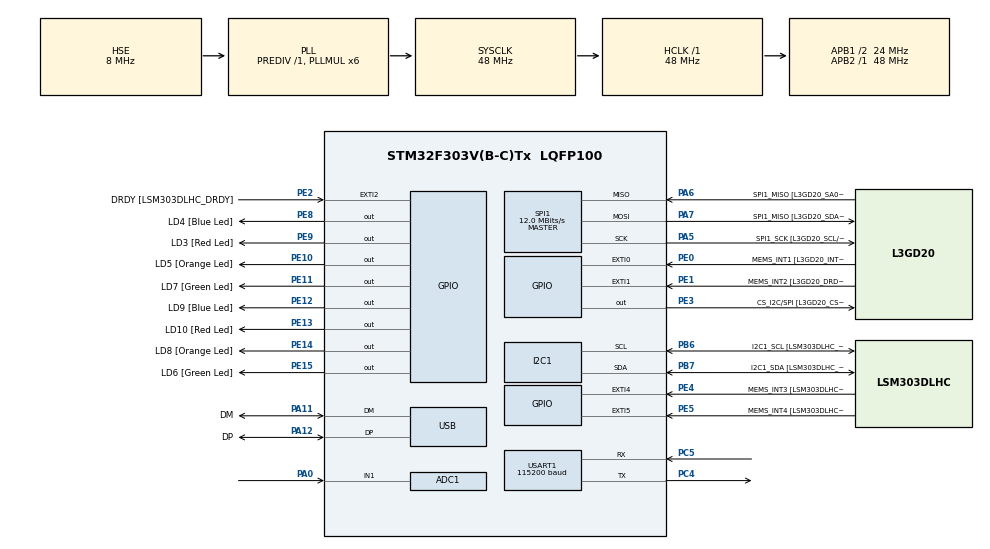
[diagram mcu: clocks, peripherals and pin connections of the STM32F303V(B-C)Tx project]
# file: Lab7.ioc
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ADC1.Channel-0\#ChannelRegularConversion=ADC_CHANNEL_1
ADC1.ContinuousConvMode=ENABLE
ADC1.NbrOfConversionFlag=1
ADC1.Offset-0\#ChannelRegularConversion=0
ADC1.OffsetNumber-0\#ChannelRegularConversion=ADC_OFFSET_NONE
ADC1.Rank-0\#ChannelRegularConversion=1
ADC1.SamplingTime-0\#ChannelRegularConversion=ADC_SAMPLETIME_181CYCLES_5
ADC1.SamplingTimeOPAMP-0\#ChannelRegularConversion=ADC_SAMPLETIME_19CYCLES_5
ADC1.master=1
I2C1.Timing=0x2000090E
I2C1.Timing-I2C=0x2000090E
Mcu.Family=STM32F3
Mcu.Name=STM32F303V(B-C)Tx
Mcu.Package=LQFP100
NVIC.ADC1_2_IRQn=true\:0\:0\:false\:false\:true\:true\:true\:true
NVIC.PriorityGroup=NVIC_PRIORITYGROUP_0
PA0.Mode=IN1-Single-Ended
PA0.Signal=ADC1_IN1
PA11.GPIO_Label=DM
PA11.Mode=Device
PA11.Signal=USB_DM
PA12.GPIO_Label=DP
PA12.Mode=Device
PA12.Signal=USB_DP
PA13.GPIO_Label=SWDIO
PA13.Mode=Serial_Wire
PA13.Signal=SYS_JTMS-SWDIO
PA14.GPIO_Label=SWCLK
PA14.Mode=Serial_Wire
PA14.Signal=SYS_JTCK-SWCLK
PA5.GPIO_Label=SPI1_SCK [L3GD20_SCL/SPC]
PA5.Mode=Full_Duplex_Master
PA5.Signal=SPI1_SCK
PA6.GPIO_Label=SPI1_MISO [L3GD20_SA0/SDO]
PA6.Mode=Full_Duplex_Master
PA6.Signal=SPI1_MISO
PA7.GPIO_Label=SPI1_MISO [L3GD20_SDA/SDI/SDO]
PA7.Mode=Full_Duplex_Master
PA7.Signal=SPI1_MOSI
PB3.GPIO_Label=SWO
PB3.Signal=SYS_JTDO-TRACESWO
PB6.GPIO_Label=I2C1_SCL [LSM303DLHC_SCL]
PB6.GPIO_Pu=GPIO_PULLUP
PB6.Mode=I2C
PB6.Signal=I2C1_SCL
PB7.GPIO_Label=I2C1_SDA [LSM303DLHC_SDA]
PB7.GPIO_Pu=GPIO_PULLUP
PB7.Mode=I2C
PB7.Signal=I2C1_SDA
PC14-OSC32_IN.GPIO_Label=OSC32_IN
PC14-OSC32_IN.Signal=RCC_OSC32_IN
PC15-OSC32_OUT.GPIO_Label=OSC32_OUT
PC15-OSC32_OUT.Signal=RCC_OSC32_OUT
PC4.Mode=Asynchronous
PC4.Signal=USART1_TX
PC5.Mode=Asynchronous
PC5.Signal=USART1_RX
PE0.GPIO_Label=MEMS_INT1 [L3GD20_INT1]
PE0.GPIO_ModeDefaultEXTI=GPIO_MODE_EVT_RISING
PE0.Signal=GPXTI0
PE1.GPIO_Label=MEMS_INT2 [L3GD20_DRDY/INT2]
PE1.GPIO_ModeDefaultEXTI=GPIO_MODE_EVT_RISING
PE1.Signal=GPXTI1
PE10.GPIO_Label=LD5 [Orange Led]
PE10.Signal=GPIO_Output
PE11.GPIO_Label=LD7 [Green Led]
PE11.Signal=GPIO_Output
PE12.GPIO_Label=LD9 [Blue Led]
PE12.Signal=GPIO_Output
PE13.GPIO_Label=LD10 [Red Led]
PE13.Signal=GPIO_Output
PE14.GPIO_Label=LD8 [Orange Led]
PE14.Signal=GPIO_Output
PE15.GPIO_Label=LD6 [Green Led]
PE15.Signal=GPIO_Output
PE2.GPIO_Label=DRDY [LSM303DLHC_DRDY]
PE2.GPIO_ModeDefaultEXTI=GPIO_MODE_EVT_RISING
PE2.Signal=GPXTI2
PE3.GPIO_Label=CS_I2C/SPI [L3GD20_CS_I2C/SPI]
PE3.Signal=GPIO_Output
PE4.GPIO_Label=MEMS_INT3 [LSM303DLHC_INT1]
PE4.GPIO_ModeDefaultEXTI=GPIO_MODE_EVT_RISING
PE4.Signal=GPXTI4
PE5.GPIO_Label=MEMS_INT4 [LSM303DLHC_INT2]
PE5.GPIO_ModeDefaultEXTI=GPIO_MODE_EVT_RISING
PE5.Signal=GPXTI5
PE8.GPIO_Label=LD4 [Blue Led]
PE8.Signal=GPIO_Output
PE9.GPIO_Label=LD3 [Red Led]
PE9.Signal=GPIO_Output
PF0-OSC_IN.GPIO_Label=OSC_IN
PF0-OSC_IN.Mode=HSE-External-Clock-Source
PF0-OSC_IN.Signal=RCC_OSC_IN
PF1-OSC_OUT.GPIO_Label=OSC_OUT
PF1-OSC_OUT.Signal=RCC_OSC_OUT
ProjectManager.HeapSize=0x200
ProjectManager.StackSize=0x400
ProjectManager.TargetToolchain=CMake
RCC.AHBFreq_Value=48000000
RCC.APB1CLKDivider=RCC_HCLK_DIV2
RCC.APB1Freq_Value=24000000
RCC.APB1TimFreq_Value=48000000
RCC.APB2Freq_Value=48000000
RCC.APB2TimFreq_Value=48000000
RCC.CortexFreq_Value=48000000
RCC.HCLKFreq_Value=48000000
RCC.HSE_VALUE=8000000
RCC.HSI_VALUE=8000000
RCC.LSE_VALUE=32768
RCC.PLLMUL=RCC_PLL_MUL6
RCC.SYSCLKFreq_VALUE=48000000
RCC.SYSCLKSourceVirtual=RCC_SYSCLKSOURCE_PLLCLK
RCC.USBFreq_Value=48000000
SPI1.BaudRatePrescaler=SPI_BAUDRATEPRESCALER_4
SPI1.BaudRatePrescaler-Full_Duplex_Master=SPI_BAUDRATEPRESCALER_2
SPI1.CalculateBaudRate=12.0 MBits/s
SPI1.CalculateBaudRate-Full_Duplex_Master=24.0 MBits/s
SPI1.Direction=SPI_DIRECTION_2LINES
SPI1.Mode=SPI_MODE_MASTER
SPI1.Mode-Full_Duplex_Master=SPI_MODE_MASTER
SPI1.VirtualType=VM_MASTER
STMicroelectronics.X-CUBE-ALGOBUILD.1.4.0.LibraryCcDSPOoLibraryJjDSPOoLibrary=true
USART1.BaudRate=115200
USART1.VirtualMode-Asynchronous=VM_ASYNC
VP_STMicroelectronics.X-CUBE-ALGOBUILD_VS_DSPOoLibraryJjLibrary_1.4.0_1.4.0.Mode=DSPOoLibraryJjLibrary
board=STM32F3DISCOVERY

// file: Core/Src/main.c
/* USER CODE BEGIN Header */
/**
  ******************************************************************************
  * @file           : main.c
  * @brief          : Main program body
  ******************************************************************************
  * @attention
  *
  * Copyright (c) 2026 STMicroelectronics.
  * All rights reserved.
  *
  * This software is licensed under terms that can be found in the LICENSE file
  * in the root directory of this software component.
  * If no LICENSE file comes with this software, it is provided AS-IS.
  *
  ******************************************************************************
  */
/* USER CODE END Header */
#include "main.h"

/* USER CODE BEGIN Includes */
#include "arm_math.h"
#include "stm32f3xx_hal_adc.h"
#include <stdio.h>
#include <string.h>
/* USER CODE END Includes */

/* USER CODE BEGIN PD */
#define FILTER_LEN 10
/* USER CODE END PD */

ADC_HandleTypeDef hadc1;

I2C_HandleTypeDef hi2c1;

SPI_HandleTypeDef hspi1;

UART_HandleTypeDef huart1;

PCD_HandleTypeDef hpcd_USB_FS;

/* USER CODE BEGIN PV */
static float32_t inputBuffer[FILTER_LEN];
static float32_t output;
static uint32_t bufIdx = 0;
static volatile uint32_t adc_raw = 0;
static volatile uint8_t adc_ready = 0;
/* USER CODE END PV */

void SystemClock_Config(void);
static void MX_GPIO_Init(void);
static void MX_ADC1_Init(void);
static void MX_I2C1_Init(void);
static void MX_SPI1_Init(void);
static void MX_USART1_UART_Init(void);
static void MX_USB_PCD_Init(void);

/* USER CODE BEGIN 0 */
void apply_moving_average(float32_t new_sample)
{
  inputBuffer[bufIdx] = new_sample;
  bufIdx = (bufIdx + 1) % FILTER_LEN;
  arm_mean_f32(inputBuffer, FILTER_LEN, &output);
}
void HAL_ADC_ConvCpltCallback(ADC_HandleTypeDef* hadc)
{
  if (hadc->Instance == ADC1) {
    adc_raw = HAL_ADC_GetValue(&hadc1);
    adc_ready = 1;
  }
}
/* USER CODE END 0 */

int main(void)
{

  /* MCU Configuration--------------------------------------------------------*/

  /* Reset of all peripherals, Initializes the Flash interface and the Systick. */
  HAL_Init();

  /* Configure the system clock */
  SystemClock_Config();

  /* Initialize all configured peripherals */
  MX_GPIO_Init();
  MX_ADC1_Init();
  MX_I2C1_Init();
  MX_SPI1_Init();
  MX_USART1_UART_Init();
  MX_USB_PCD_Init();

  /* Infinite loop */
  while (1)
  {

    /* USER CODE BEGIN 3 */

    //(i): POLLING MODE
    // HAL_ADC_Start(&hadc1);
    // HAL_ADC_PollForConversion(&hadc1, HAL_MAX_DELAY);
    // uint32_t raw = HAL_ADC_GetValue(&hadc1);
    // apply_moving_average((float32_t)raw);
    // uint32_t filt = (uint32_t)output;
    // char line[32];
    // int n = snprintf(line, sizeof(line), "%lu,%lu\r\n", (unsigned long)raw, (unsigned long)filt);
    // HAL_UART_Transmit(&huart1, (uint8_t*)line, n, HAL_MAX_DELAY);
    // HAL_Delay(1);
    // HAL_ADC_Stop(&hadc1);

    // (ii): INTERRUPT MODE
    HAL_ADC_Start_IT(&hadc1);
    while (!adc_ready) {
    }
    adc_ready = 0;
    apply_moving_average((float32_t)adc_raw);
    uint32_t filt = (uint32_t)output;
    char line[32];
    int n = snprintf(line, sizeof(line), "%lu,%lu\r\n", (unsigned long)adc_raw, (unsigned long)filt);
    HAL_UART_Transmit(&huart1, (uint8_t*)line, n, HAL_MAX_DELAY);
    HAL_ADC_Stop_IT(&hadc1);
    HAL_Delay(1);
  }
  /* USER CODE END 3 */
}

void SystemClock_Config(void)
{
  RCC_OscInitTypeDef RCC_OscInitStruct = {0};
  RCC_ClkInitTypeDef RCC_ClkInitStruct = {0};
  RCC_PeriphCLKInitTypeDef PeriphClkInit = {0};

  /** Initializes the RCC Oscillators according to the specified parameters
  * in the RCC_OscInitTypeDef structure.
  */
  RCC_OscInitStruct.OscillatorType = RCC_OSCILLATORTYPE_HSI|RCC_OSCILLATORTYPE_HSE;
  RCC_OscInitStruct.HSEState = RCC_HSE_BYPASS;
  RCC_OscInitStruct.HSEPredivValue = RCC_HSE_PREDIV_DIV1;
  RCC_OscInitStruct.HSIState = RCC_HSI_ON;
  RCC_OscInitStruct.HSICalibrationValue = RCC_HSICALIBRATION_DEFAULT;
  RCC_OscInitStruct.PLL.PLLState = RCC_PLL_ON;
  RCC_OscInitStruct.PLL.PLLSource = RCC_PLLSOURCE_HSE;
  RCC_OscInitStruct.PLL.PLLMUL = RCC_PLL_MUL6;
  if (HAL_RCC_OscConfig(&RCC_OscInitStruct) != HAL_OK)
  {
    Error_Handler();
  }

  /** Initializes the CPU, AHB and APB buses clocks
  */
  RCC_ClkInitStruct.ClockType = RCC_CLOCKTYPE_HCLK|RCC_CLOCKTYPE_SYSCLK
                              |RCC_CLOCKTYPE_PCLK1|RCC_CLOCKTYPE_PCLK2;
  RCC_ClkInitStruct.SYSCLKSource = RCC_SYSCLKSOURCE_PLLCLK;
  RCC_ClkInitStruct.AHBCLKDivider = RCC_SYSCLK_DIV1;
  RCC_ClkInitStruct.APB1CLKDivider = RCC_HCLK_DIV2;
  RCC_ClkInitStruct.APB2CLKDivider = RCC_HCLK_DIV1;

  if (HAL_RCC_ClockConfig(&RCC_ClkInitStruct, FLASH_LATENCY_1) != HAL_OK)
  {
    Error_Handler();
  }
  PeriphClkInit.PeriphClockSelection = RCC_PERIPHCLK_USB|RCC_PERIPHCLK_USART1
                              |RCC_PERIPHCLK_I2C1|RCC_PERIPHCLK_ADC12;
  PeriphClkInit.Usart1ClockSelection = RCC_USART1CLKSOURCE_PCLK2;
  PeriphClkInit.Adc12ClockSelection = RCC_ADC12PLLCLK_DIV1;
  PeriphClkInit.I2c1ClockSelection = RCC_I2C1CLKSOURCE_HSI;
  PeriphClkInit.USBClockSelection = RCC_USBCLKSOURCE_PLL;
  if (HAL_RCCEx_PeriphCLKConfig(&PeriphClkInit) != HAL_OK)
  {
    Error_Handler();
  }
}

static void MX_ADC1_Init(void)
{

  ADC_MultiModeTypeDef multimode = {0};
  ADC_ChannelConfTypeDef sConfig = {0};

  /** Common config
  */
  hadc1.Instance = ADC1;
  hadc1.Init.ClockPrescaler = ADC_CLOCK_ASYNC_DIV1;
  hadc1.Init.Resolution = ADC_RESOLUTION_12B;
  hadc1.Init.ScanConvMode = ADC_SCAN_DISABLE;
  hadc1.Init.ContinuousConvMode = ENABLE;
  hadc1.Init.DiscontinuousConvMode = DISABLE;
  hadc1.Init.ExternalTrigConvEdge = ADC_EXTERNALTRIGCONVEDGE_NONE;
  hadc1.Init.ExternalTrigConv = ADC_SOFTWARE_START;
  hadc1.Init.DataAlign = ADC_DATAALIGN_RIGHT;
  hadc1.Init.NbrOfConversion = 1;
  hadc1.Init.DMAContinuousRequests = DISABLE;
  hadc1.Init.EOCSelection = ADC_EOC_SINGLE_CONV;
  hadc1.Init.LowPowerAutoWait = DISABLE;
  hadc1.Init.Overrun = ADC_OVR_DATA_OVERWRITTEN;
  if (HAL_ADC_Init(&hadc1) != HAL_OK)
  {
    Error_Handler();
  }

  /** Configure the ADC multi-mode
  */
  multimode.Mode = ADC_MODE_INDEPENDENT;
  if (HAL_ADCEx_MultiModeConfigChannel(&hadc1, &multimode) != HAL_OK)
  {
    Error_Handler();
  }

  /** Configure Regular Channel
  */
  sConfig.Channel = ADC_CHANNEL_1;
  sConfig.Rank = ADC_REGULAR_RANK_1;
  sConfig.SingleDiff = ADC_SINGLE_ENDED;
  sConfig.SamplingTime = ADC_SAMPLETIME_181CYCLES_5;
  sConfig.OffsetNumber = ADC_OFFSET_NONE;
  sConfig.Offset = 0;
  if (HAL_ADC_ConfigChannel(&hadc1, &sConfig) != HAL_OK)
  {
    Error_Handler();
  }

}

static void MX_I2C1_Init(void)
{

  hi2c1.Instance = I2C1;
  hi2c1.Init.Timing = 0x2000090E;
  hi2c1.Init.OwnAddress1 = 0;
  hi2c1.Init.AddressingMode = I2C_ADDRESSINGMODE_7BIT;
  hi2c1.Init.DualAddressMode = I2C_DUALADDRESS_DISABLE;
  hi2c1.Init.OwnAddress2 = 0;
  hi2c1.Init.OwnAddress2Masks = I2C_OA2_NOMASK;
  hi2c1.Init.GeneralCallMode = I2C_GENERALCALL_DISABLE;
  hi2c1.Init.NoStretchMode = I2C_NOSTRETCH_DISABLE;
  if (HAL_I2C_Init(&hi2c1) != HAL_OK)
  {
    Error_Handler();
  }

  /** Configure Analogue filter
  */
  if (HAL_I2CEx_ConfigAnalogFilter(&hi2c1, I2C_ANALOGFILTER_ENABLE) != HAL_OK)
  {
    Error_Handler();
  }

  /** Configure Digital filter
  */
  if (HAL_I2CEx_ConfigDigitalFilter(&hi2c1, 0) != HAL_OK)
  {
    Error_Handler();
  }

}

static void MX_SPI1_Init(void)
{

  /* SPI1 parameter configuration*/
  hspi1.Instance = SPI1;
  hspi1.Init.Mode = SPI_MODE_MASTER;
  hspi1.Init.Direction = SPI_DIRECTION_2LINES;
  hspi1.Init.DataSize = SPI_DATASIZE_4BIT;
  hspi1.Init.CLKPolarity = SPI_POLARITY_LOW;
  hspi1.Init.CLKPhase = SPI_PHASE_1EDGE;
  hspi1.Init.NSS = SPI_NSS_SOFT;
  hspi1.Init.BaudRatePrescaler = SPI_BAUDRATEPRESCALER_4;
  hspi1.Init.FirstBit = SPI_FIRSTBIT_MSB;
  hspi1.Init.TIMode = SPI_TIMODE_DISABLE;
  hspi1.Init.CRCCalculation = SPI_CRCCALCULATION_DISABLE;
  hspi1.Init.CRCPolynomial = 7;
  hspi1.Init.CRCLength = SPI_CRC_LENGTH_DATASIZE;
  hspi1.Init.NSSPMode = SPI_NSS_PULSE_ENABLE;
  if (HAL_SPI_Init(&hspi1) != HAL_OK)
  {
    Error_Handler();
  }

}

static void MX_USART1_UART_Init(void)
{

  huart1.Instance = USART1;
  huart1.Init.BaudRate = 115200;
  huart1.Init.WordLength = UART_WORDLENGTH_8B;
  huart1.Init.StopBits = UART_STOPBITS_1;
  huart1.Init.Parity = UART_PARITY_NONE;
  huart1.Init.Mode = UART_MODE_TX_RX;
  huart1.Init.HwFlowCtl = UART_HWCONTROL_NONE;
  huart1.Init.OverSampling = UART_OVERSAMPLING_16;
  huart1.Init.OneBitSampling = UART_ONE_BIT_SAMPLE_DISABLE;
  huart1.AdvancedInit.AdvFeatureInit = UART_ADVFEATURE_NO_INIT;
  if (HAL_UART_Init(&huart1) != HAL_OK)
  {
    Error_Handler();
  }

}

static void MX_USB_PCD_Init(void)
{

  hpcd_USB_FS.Instance = USB;
  hpcd_USB_FS.Init.dev_endpoints = 8;
  hpcd_USB_FS.Init.speed = PCD_SPEED_FULL;
  hpcd_USB_FS.Init.phy_itface = PCD_PHY_EMBEDDED;
  hpcd_USB_FS.Init.low_power_enable = DISABLE;
  hpcd_USB_FS.Init.battery_charging_enable = DISABLE;
  if (HAL_PCD_Init(&hpcd_USB_FS) != HAL_OK)
  {
    Error_Handler();
  }

}

static void MX_GPIO_Init(void)
{
  GPIO_InitTypeDef GPIO_InitStruct = {0};

  /* GPIO Ports Clock Enable */
  __HAL_RCC_GPIOE_CLK_ENABLE();
  __HAL_RCC_GPIOC_CLK_ENABLE();
  __HAL_RCC_GPIOF_CLK_ENABLE();
  __HAL_RCC_GPIOA_CLK_ENABLE();
  __HAL_RCC_GPIOB_CLK_ENABLE();

  /*Configure GPIO pin Output Level */
  HAL_GPIO_WritePin(GPIOE, CS_I2C_SPI_Pin|LD4_Pin|LD3_Pin|LD5_Pin
                          |LD7_Pin|LD9_Pin|LD10_Pin|LD8_Pin
                          |LD6_Pin, GPIO_PIN_RESET);

  /*Configure GPIO pins : DRDY_Pin MEMS_INT3_Pin MEMS_INT4_Pin MEMS_INT1_Pin
                           MEMS_INT2_Pin */
  GPIO_InitStruct.Pin = DRDY_Pin|MEMS_INT3_Pin|MEMS_INT4_Pin|MEMS_INT1_Pin
                          |MEMS_INT2_Pin;
  GPIO_InitStruct.Mode = GPIO_MODE_EVT_RISING;
  GPIO_InitStruct.Pull = GPIO_NOPULL;
  HAL_GPIO_Init(GPIOE, &GPIO_InitStruct);

  /*Configure GPIO pins : CS_I2C_SPI_Pin LD4_Pin LD3_Pin LD5_Pin
                           LD7_Pin LD9_Pin LD10_Pin LD8_Pin
                           LD6_Pin */
  GPIO_InitStruct.Pin = CS_I2C_SPI_Pin|LD4_Pin|LD3_Pin|LD5_Pin
                          |LD7_Pin|LD9_Pin|LD10_Pin|LD8_Pin
                          |LD6_Pin;
  GPIO_InitStruct.Mode = GPIO_MODE_OUTPUT_PP;
  GPIO_InitStruct.Pull = GPIO_NOPULL;
  GPIO_InitStruct.Speed = GPIO_SPEED_FREQ_LOW;
  HAL_GPIO_Init(GPIOE, &GPIO_InitStruct);

}

void Error_Handler(void)
{
  __disable_irq();
  while (1)
  {
  }
}
